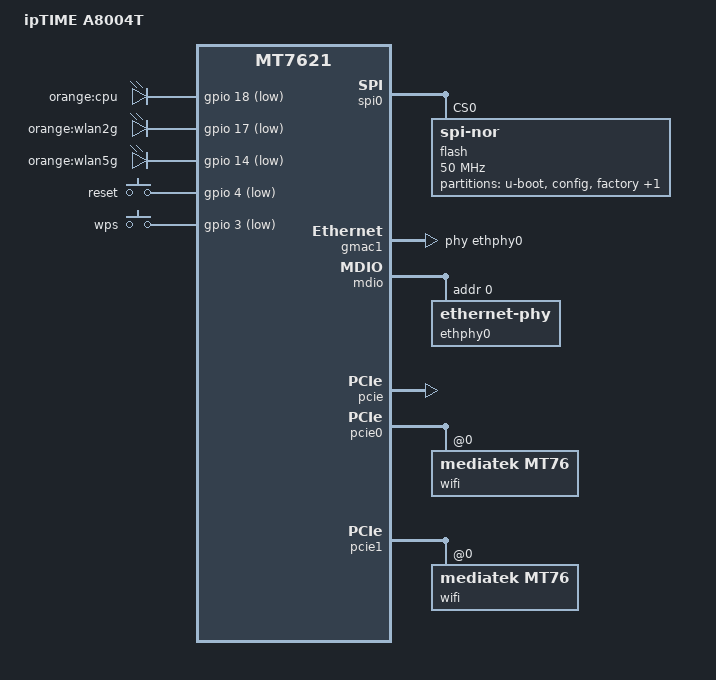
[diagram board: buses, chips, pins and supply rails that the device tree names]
// SPDX-License-Identifier: GPL-2.0-or-later OR MIT

#include "mt7621.dtsi"

#include <dt-bindings/gpio/gpio.h>
#include <dt-bindings/input/input.h>

/ {
	compatible = "iptime,a8004t", "mediatek,mt7621-soc";
	model = "ipTIME A8004T";

	aliases {
		led-boot = &led_cpu;
		led-failsafe = &led_cpu;
		led-running = &led_cpu;
		led-upgrade = &led_cpu;
	};

	leds {
		compatible = "gpio-leds";

		led_cpu: cpu {
			label = "orange:cpu";
			gpios = <&gpio 18 GPIO_ACTIVE_LOW>;
		};

		wlan2g {
			label = "orange:wlan2g";
			gpios = <&gpio 17 GPIO_ACTIVE_LOW>;
			linux,default-trigger = "phy0radio";
		};

		wlan5g {
			label = "orange:wlan5g";
			gpios = <&gpio 14 GPIO_ACTIVE_LOW>;
			linux,default-trigger = "phy1radio";
		};
	};

	keys {
		compatible = "gpio-keys";

		reset {
			label = "reset";
			gpios = <&gpio 4 GPIO_ACTIVE_LOW>;
			linux,code = <KEY_RESTART>;
		};

		wps {
			label = "wps";
			gpios = <&gpio 3 GPIO_ACTIVE_LOW>;
			linux,code = <KEY_WPS_BUTTON>;
		};
	};
};

&spi0 {
	status = "okay";

	flash@0 {
		compatible = "jedec,spi-nor";
		reg = <0>;
		spi-max-frequency = <50000000>;

		partitions {
			compatible = "fixed-partitions";
			#address-cells = <1>;
			#size-cells = <1>;

			uboot: partition@0 {
				label = "u-boot";
				reg = <0x0 0x20000>;
				read-only;
			};

			partition@20000 {
				label = "config";
				reg = <0x20000 0x10000>;
				read-only;
			};

			factory: partition@30000 {
				label = "factory";
				reg = <0x30000 0x10000>;
				read-only;
			};

			partition@40000 {
				compatible = "denx,uimage";
				label = "firmware";
				reg = <0x40000 0xfc0000>;
			};
		};
	};
};

&gmac0 {
	mtd-mac-address = <&uboot 0x1fc20>;
};

&gmac1 {
	status = "okay";
	label = "wan";
	phy-handle = <&ethphy0>;

	mtd-mac-address = <&uboot 0x1fc40>;
};

&mdio {
	ethphy0: ethernet-phy@0 {
		reg = <0>;
	};
};

&switch0 {
	ports {
		port@1 {
			status = "okay";
			label = "lan4";
		};

		port@2 {
			status = "okay";
			label = "lan3";
		};

		port@3 {
			status = "okay";
			label = "lan2";
		};

		port@4 {
			status = "okay";
			label = "lan1";
		};
	};
};

&pcie {
	status = "okay";
};

&pcie0 {
	wifi@0,0 {
		compatible = "mediatek,mt76";
		reg = <0x0000 0 0 0 0>;
		mediatek,mtd-eeprom = <&factory 0x0000>;
		ieee80211-freq-limit = <2400000 2500000>;
	};
};

&pcie1 {
	wifi@0,0 {
		compatible = "mediatek,mt76";
		reg = <0x0000 0 0 0 0>;
		mediatek,mtd-eeprom = <&factory 0x8000>;
		ieee80211-freq-limit = <5000000 6000000>;
	};
};

&state_default {
	gpio {
		groups = "wdt", "jtag", "i2c";
		function = "gpio";
	};
};
